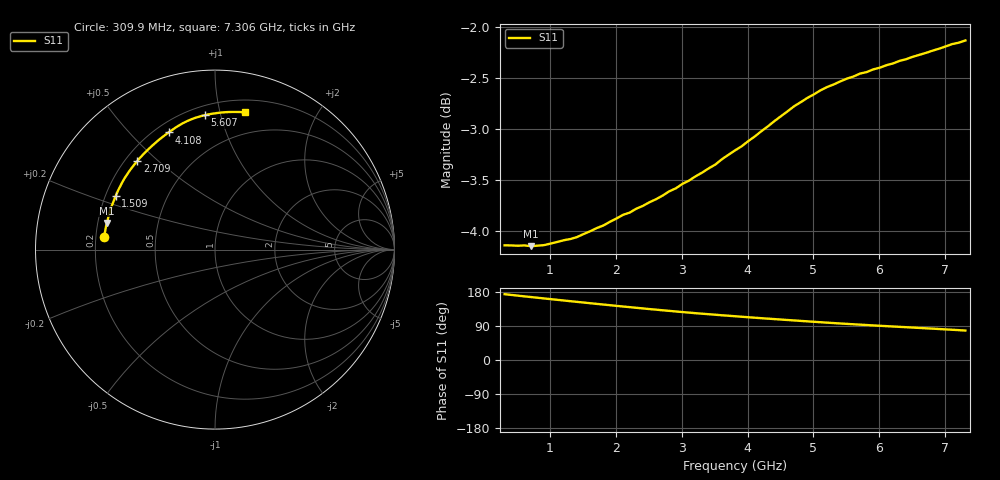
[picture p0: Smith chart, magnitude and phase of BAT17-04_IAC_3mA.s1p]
! Infineon Technologies  Discrete & RF Semiconductors
! BAT17-04
! IAC = 3 mA
! One-Port S-Parameters
# Hz  S  MA  R  50
!f  S11
!Hz  Mag  Ang
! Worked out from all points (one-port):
!   71 points, 309.9 MHz to 7.306 GHz, reference 50 ohm
!   lowest |S11| = -4.1 dB at 709.6 MHz (marker M1), VSWR 4.27, Z = 11.9 + j5.74 ohm
!   |S11| at or under -10 dB: nowhere
!   S11 on the Smith chart (normalised r, x): 309.9 MHz: 0.23, +0.05; 1.509 GHz: 0.24, +0.24; 2.709 GHz: 0.25, +0.43; 4.108 GHz: 0.25, +0.65; 5.607 GHz: 0.26, +0.89; 7.306 GHz: 0.30, +1.20
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3.0985e8  0.6209 173.7
6.097e8  0.6209 167.9
7.0965e8  0.6203 166.1
1.0095e9  0.6221 160.6
1.2094e9  0.6245 157.0
1.50925e9  0.6289 151.7
1.70915e9  0.6331 148.1
1.90905e9  0.6376 144.6
2.10895e9  0.6426 141.1
2.4088e9  0.6491 136.2
2.50875e9  0.6518 134.4
2.70865e9  0.6567 131.2
2.8086e9  0.6599 129.7
3.0085e9  0.6654 126.5
3.2084e9  0.6711 123.6
3.6082e9  0.6842 118.0
3.8081e9  0.691 115.5
4.10795e9  0.7019 111.6
4.4078e9  0.7143 107.9
4.70765e9  0.7264 104.4
5.10745e9  0.7395 99.6
5.4073e9  0.7469 96.3
5.6072e9  0.751 94.2
6.10695e9  0.7607 89.4
6.50675e9  0.7679 85.6
6.90655e9  0.775 81.8
7.10645e9  0.779 79.8
7.30635e9  0.7822 77.7
